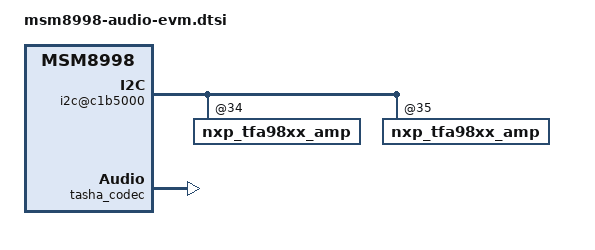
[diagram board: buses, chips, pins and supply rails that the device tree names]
&pm8005_gpios {
	gpio@c000 {
		reg = <0xc000 0x100>;
		qcom,pin-num = <1>;
		qcom,mode = <1>;	/* Digital output */
		qcom,output-type = <0>;	/* CMOS logic */
		qcom,,vin-sel = <2>;	/* S4 1.8V */
		qcom,src-sel = <0>;	/* Constant */
		qcom,master-en = <1>;	/* Enable GPIO  */
		qcom,invert = <1>;	/* output high */
		status = "okay";
	};
};

&spi_2 {
	status = "disabled";
};

&soc {
	sound-9335 {
		status = "ok";
	};
	sound-tavil {
		status = "disabled";
	};

	i2c@c1b5000 { /* i2c_7 */
		nxp_tfa98xx_amp@34 {
				status = "ok";
		};

		nxp_tfa98xx_amp@35 {
				status = "ok";
		};

		tas2557s@4d {
				status = "disabled";
		};
	};

};

&slim_aud {
	tasha_codec {
		status = "ok";
	};

	tavil_codec {
		status = "disabled";
	};
};

